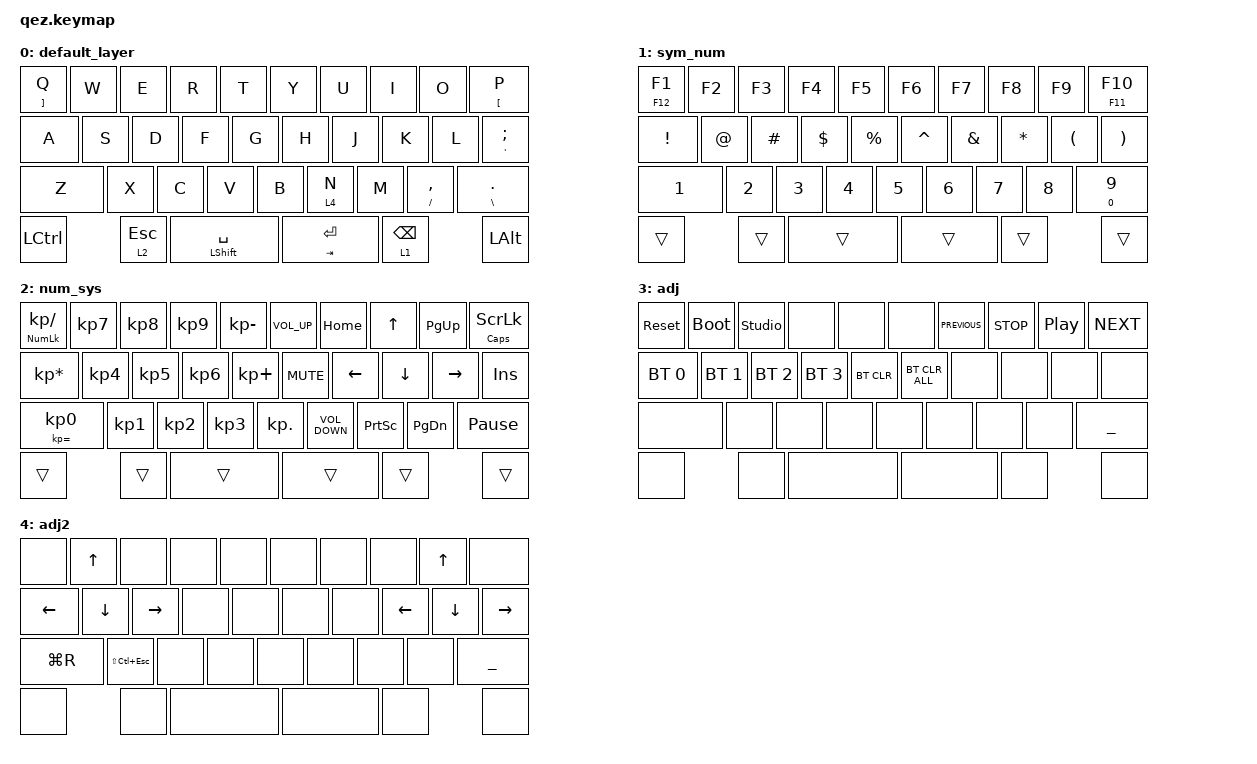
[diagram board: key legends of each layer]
#include <behaviors.dtsi>
#include <dt-bindings/zmk/bt.h>
#include <dt-bindings/zmk/keys.h>

#define DEFAULT 0
#define NUM_SYM 1
#define NAV     2
#define NUM     3
#define SYM     4

&lt {
    tapping-term-ms = <200>;
    quick-tap-ms = <200>;
};

&mt {
    tapping-term-ms = <150>;
    quick-tap-ms = <200>;
};

/ {
    combos {
        compatible = "zmk,combos";

        language {
            bindings = <&kp LS(LEFT_ALT)>;
            key-positions = <32 34>;
        };

        delete {
            bindings = <&kp DEL>;
            key-positions = <32 33>;
        };

        WIN {
            bindings = <&kp LEFT_WIN>;
            key-positions = <28 27>;
        };
    };

    keymap {
        compatible = "zmk,keymap";

        default_layer {
            bindings = <
  &mt RIGHT_BRACKET Q  &kp W  &kp E         &kp R  &kp T                 &kp Y  &kp U          &kp I            &kp O            &mt LEFT_BRACKET P
  &kp A                &kp S  &kp D         &kp F  &kp G                 &kp H  &kp J          &kp K            &kp L            &mt APOS SEMICOLON
  &kp Z                       &kp X         &kp C  &kp V                 &kp B  &lt 4 N        &kp M            &mt SLASH COMMA  &mt BACKSLASH DOT
  &kp LCTRL                   &lt 2 ESCAPE         &mt LEFT_SHIFT SPACE         &mt TAB ENTER  &lt 1 BACKSPACE                   &kp LALT
            >;
        };

        sym_num {
            bindings = <
  &mt F12 F1  &kp F2  &kp F3    &kp F4      &kp F5       &kp F6     &kp F7         &kp F8        &kp F9                &mt F11 F10
  &kp EXCL    &kp AT  &kp HASH  &kp DOLLAR  &kp PERCENT  &kp CARET  &kp AMPERSAND  &kp ASTERISK  &kp LEFT_PARENTHESIS  &kp RIGHT_PARENTHESIS
  &kp N1              &kp N2    &kp N3      &kp N4       &kp N5     &kp N6         &kp N7        &kp N8                &mt N0 N9
  &trans              &trans                &trans                  &trans         &trans                              &trans
            >;
        };

        num_sys {
            bindings = <
  &mt KP_NUMLOCK KP_SLASH   &kp KP_NUMBER_7  &kp KP_NUMBER_8  &kp KP_NUMBER_9  &kp KP_MINUS     &kp C_VOLUME_UP  &kp HOME           &kp UP          &kp PAGE_UP    &mt CAPSLOCK SCROLLLOCK
  &kp KP_MULTIPLY           &kp KP_NUMBER_4  &kp KP_NUMBER_5  &kp KP_NUMBER_6  &kp KP_PLUS      &kp C_MUTE       &kp LEFT           &kp DOWN_ARROW  &kp RIGHT      &kp INSERT
  &mt KP_EQUAL KP_NUMBER_0                   &kp KP_NUMBER_1  &kp KP_NUMBER_2  &kp KP_NUMBER_3  &kp KP_DOT       &kp C_VOLUME_DOWN  &kp PSCRN       &kp PAGE_DOWN  &kp PAUSE_BREAK
  &trans                                     &trans                            &trans                            &trans             &trans                         &trans
            >;
        };

        adj {
            bindings = <
  &sys_reset    &bootloader   &studio_unlock  &none         &none       &none           &kp C_PREVIOUS  &kp C_STOP  &kp C_PLAY_PAUSE  &kp C_NEXT
  &bt BT_SEL 0  &bt BT_SEL 1  &bt BT_SEL 2    &bt BT_SEL 3  &bt BT_CLR  &bt BT_CLR_ALL  &none           &none       &none             &none
  &none                       &none           &none         &none       &none           &none           &none       &none             &kp UNDERSCORE
  &none                       &none                         &none                       &none           &none                         &none
            >;
        };

        adj2 {
            bindings = <
  &none           &kp UP_ARROW    &none            &none  &none  &none  &none  &none           &kp UP_ARROW    &none
  &kp LEFT_ARROW  &kp DOWN_ARROW  &kp RIGHT_ARROW  &none  &none  &none  &none  &kp LEFT_ARROW  &kp DOWN_ARROW  &kp RIGHT_ARROW
  &kp LG(R)                       &kp LS(LC(ESC))  &none  &none  &none  &none  &none           &none           &kp UNDERSCORE
  &none                           &none                   &none         &none  &none                           &none
            >;
        };
    };

    conditional_layers {
        compatible = "zmk,conditional-layers";

        adj {
            if-layers = <1 2>;
            then-layer = <3>;
        };

        adj2 {
            if-layers = <4>;
            then-layer = <4>;
        };
    };
};
